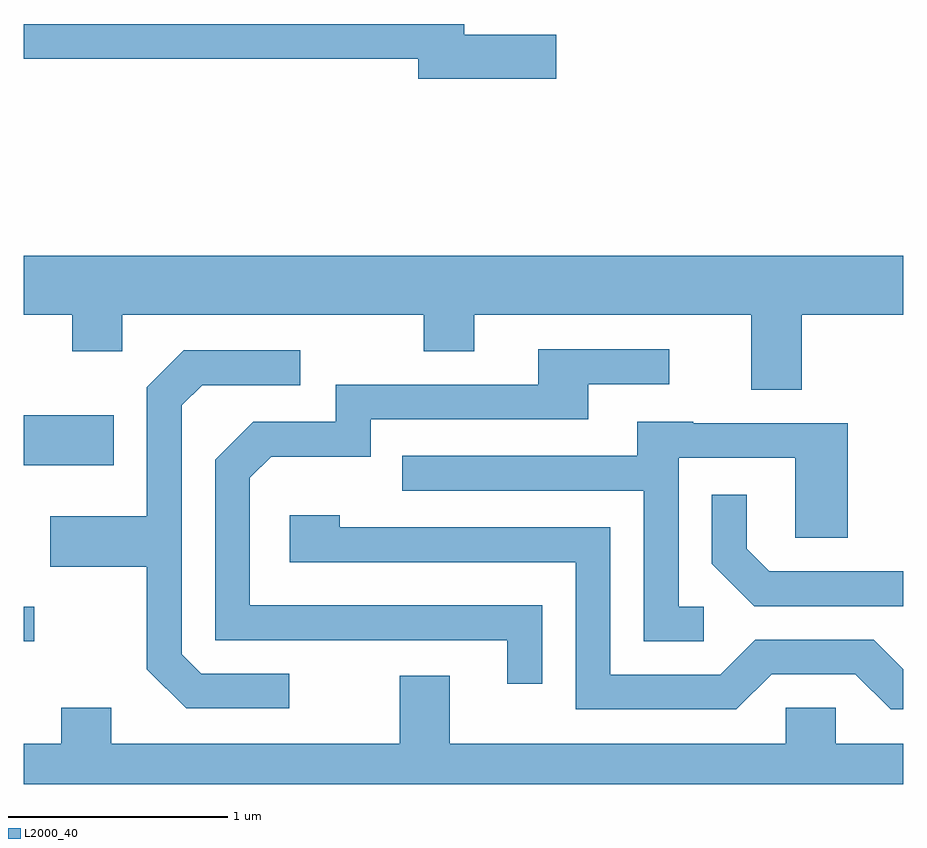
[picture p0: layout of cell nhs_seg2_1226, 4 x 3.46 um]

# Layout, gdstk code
import gdstk
lib = gdstk.Library(unit=1e-6, precision=1e-09)
def R(c, l, rs):  # rectangles x0, y0, x1, y1
    for r in rs: c.add(gdstk.rectangle(r[:2], r[2:], *l))
def P(c, l, *ps):  # polygons
    for p in ps: c.add(gdstk.Polygon(p, *l))
L2000_40 = (2000, 40)

nhs_seg2_1226 = lib.new_cell('nhs_seg2_1226')
R(nhs_seg2_1226, L2000_40, [(221.611,982.451,221.658,982.609), (221.611,983.251,222.019,983.479)])
P(nhs_seg2_1226, L2000_40, [(224.034,985.209),(223.614,985.209),(223.614,985.259),(221.611,985.259),(221.611,985.101),(223.406,985.101),(223.406,985.011),(224.034,985.011)],
  [(225.149,983.936),(225.611,983.936),(225.611,984.204),(221.611,984.204),(221.611,983.936),(221.831,983.936),(221.831,983.771),(222.059,983.771),(222.059,983.936),(223.431,983.936),(223.431,983.771),(223.659,983.771),(223.659,983.936),(224.921,983.936),(224.921,983.596),(225.149,983.596)],
  [(223.969,982.614),(222.639,982.614),(222.639,983.194),(222.737,983.291),(223.189,983.291),(223.189,983.461),(224.179,983.461),(224.179,983.621),(224.548,983.621),(224.548,983.779),(223.951,983.779),(223.951,983.619),(223.031,983.619),(223.031,983.449),(222.654,983.449),(222.481,983.277),(222.481,982.456),(223.811,982.456),(223.811,982.258),(223.969,982.258)],
  [(222.818,982.304),(222.417,982.304),(222.329,982.392),(222.329,983.524),(222.422,983.616),(222.868,983.616),(222.868,983.774),(222.339,983.774),(222.171,983.607),(222.171,983.019),(221.731,983.019),(221.731,982.791),(222.171,982.791),(222.171,982.324),(222.349,982.146),(222.818,982.146)],
  [(224.703,982.609),(224.589,982.609),(224.589,983.286),(225.121,983.286),(225.121,982.921),(225.359,982.921),(225.359,983.444),(224.655,983.444),(224.655,983.449),(224.401,983.449),(224.401,983.294),(223.333,983.294),(223.333,983.136),(224.431,983.136),(224.431,982.451),(224.703,982.451)],
  [(225.611,982.769),(225.002,982.769),(224.899,982.872),(224.899,983.118),(224.741,983.118),(224.741,982.804),(224.934,982.611),(225.611,982.611)],
  [(225.012,982.301),(225.394,982.301),(225.554,982.141),(225.611,982.141),(225.611,982.325),(225.477,982.459),(224.939,982.459),(224.779,982.299),(224.279,982.299),(224.279,982.969),(223.049,982.969),(223.049,983.024),(222.821,983.024),(222.821,982.811),(224.121,982.811),(224.121,982.141),(224.852,982.141)],
  [(225.611,981.984),(225.304,981.984),(225.304,982.149),(225.076,982.149),(225.076,981.984),(223.549,981.984),(223.549,982.294),(223.321,982.294),(223.321,981.984),(222.009,981.984),(222.009,982.149),(221.781,982.149),(221.781,981.984),(221.611,981.984),(221.611,981.802),(225.611,981.802)])

lib.write_gds('nhs_seg2_1226.gds')
